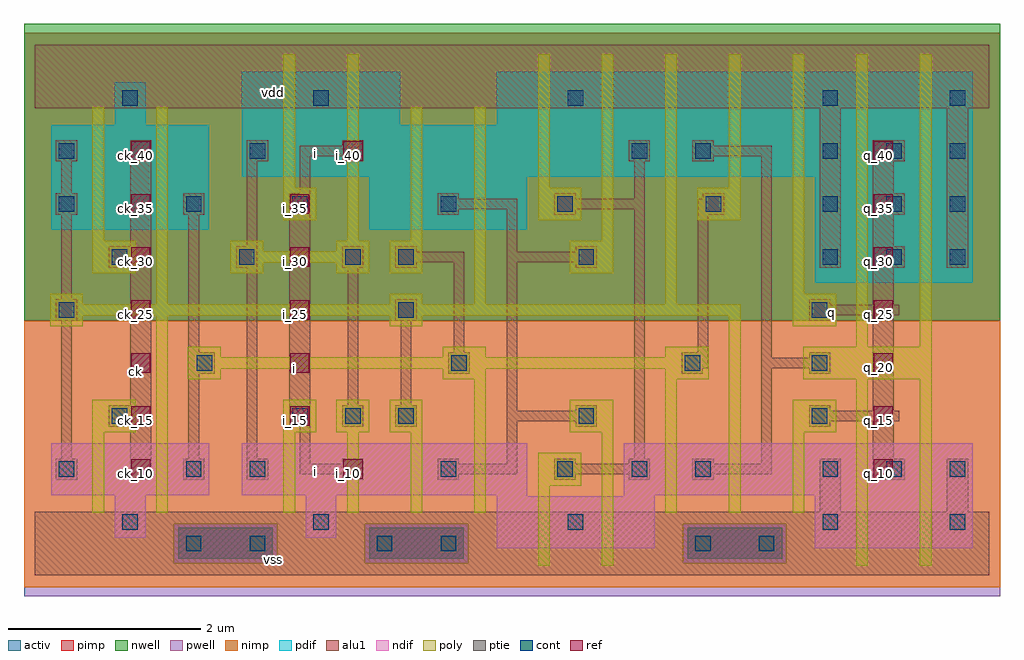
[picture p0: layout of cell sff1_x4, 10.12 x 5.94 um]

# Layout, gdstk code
import gdstk
lib = gdstk.Library(unit=1e-6, precision=2.5e-09)
def R(c, l, rs):  # rectangles x0, y0, x1, y1
    for r in rs: c.add(gdstk.rectangle(r[:2], r[2:], *l))
def A(c, l, x, y, w, h, nx, ny, dx, dy):  # array of equal rectangles
    R(c, l, [(x+i*dx, y+j*dy, x+i*dx+w, y+j*dy+h) for i in range(nx) for j in range(ny)])
ndif = (3, 0)
pdif = (4, 0)
ptie = (6, 0)
ref = (24, 0)
cont = (25, 0)
pwell = (41, 0)
nwell = (42, 0)
activ = (43, 0)
pimp = (44, 0)
nimp = (45, 0)
poly = (46, 0)
alu1 = (49, 0)

sff1_x4 = lib.new_cell('sff1_x4')
R(sff1_x4, ndif, [(4.79,0.28,6.43,0.82), (4.79,0.28,6.43,0.82), (8.09,0.28,9.73,0.83), (8.09,0.28,9.73,0.83), (0.83,0.39,1.15,0.83), (0.83,0.39,1.15,0.83), (2.81,0.39,3.13,0.83), (2.81,0.39,3.13,0.83), (4.79,0.82,5.11,0.83), (4.79,0.82,5.11,0.83), (6.11,0.82,6.43,0.83), (6.11,0.82,6.43,0.83), (0.17,0.83,1.81,1.37), (0.17,0.83,1.81,1.37), (2.15,0.83,5.11,1.37), (2.15,0.83,5.11,1.37), (6.11,0.83,9.73,1.37), (6.11,0.83,9.73,1.37)])
R(sff1_x4, pdif, [(8.09,3.03,9.73,4.13), (8.09,3.03,9.73,4.13), (0.17,3.58,1.81,4.67), (0.17,3.58,1.81,4.67), (3.47,3.58,5.11,4.13), (3.47,3.58,5.11,4.13), (2.15,4.13,9.73,4.67), (2.15,4.13,9.73,4.67), (0.83,4.67,1.15,5.11), (0.83,4.67,1.15,5.11), (2.15,4.67,3.79,5.22), (2.15,4.67,3.79,5.22), (4.79,4.67,9.73,5.22), (4.79,4.67,9.73,5.22)])
R(sff1_x4, ptie, [(1.49,0.17,2.47,0.49), (1.49,0.17,2.47,0.49), (3.47,0.17,4.45,0.49), (3.47,0.17,4.45,0.49), (6.77,0.17,7.75,0.49), (6.77,0.17,7.75,0.49)])
A(sff1_x4, ref, 1, 1, 0.2, 0.2, 1, 7, 0, 0.55)
A(sff1_x4, ref, 8.7, 1, 0.2, 0.2, 1, 7, 0, 0.55)
A(sff1_x4, ref, 2.65, 1.55, 0.2, 0.2, 1, 5, 0, 0.55)
R(sff1_x4, ref, [(3.2,1,3.4,1.2), (3.2,4.3,3.4,4.5)])
A(sff1_x4, cont, 2.89, 0.47, 0.16, 0.16, 3, 2, 2.64, 4.4)
A(sff1_x4, cont, 8.17, 1.02, 0.16, 0.16, 3, 2, 0.66, 2.2)
A(sff1_x4, cont, 2.67, 1.57, 0.16, 0.16, 3, 1, 0.55, 0)
A(sff1_x4, cont, 8.06, 1.57, 0.16, 0.16, 1, 3, 0, 0.55)
A(sff1_x4, cont, 8.17, 3.77, 0.16, 0.16, 3, 2, 0.66, 0.55)
R(sff1_x4, cont, [(1.57,0.25,1.73,0.41), (2.23,0.25,2.39,0.41), (3.55,0.25,3.71,0.41), (4.21,0.25,4.37,0.41), (6.85,0.25,7.01,0.41), (7.51,0.25,7.67,0.41), (0.91,0.47,1.07,0.63), (9.49,0.47,9.65,0.63), (0.25,1.02,0.41,1.18), (1.57,1.02,1.73,1.18), (2.23,1.02,2.39,1.18), (4.21,1.02,4.37,1.18), (5.42,1.02,5.58,1.18), (6.19,1.02,6.35,1.18), (6.85,1.02,7.01,1.18), (0.8,1.57,0.96,1.73), (5.64,1.57,5.8,1.73), (1.68,2.12,1.84,2.28), (4.32,2.12,4.48,2.28), (6.74,2.12,6.9,2.28), (0.25,2.67,0.41,2.83), (3.77,2.67,3.93,2.83), (0.8,3.22,0.96,3.38), (2.12,3.22,2.28,3.38), (3.22,3.22,3.38,3.38), (3.77,3.22,3.93,3.38), (5.64,3.22,5.8,3.38), (0.25,3.77,0.41,3.93), (1.57,3.77,1.73,3.93), (2.67,3.77,2.83,3.93), (4.21,3.77,4.37,3.93), (5.42,3.77,5.58,3.93), (6.96,3.77,7.12,3.93), (0.25,4.32,0.41,4.48), (2.23,4.32,2.39,4.48), (6.19,4.32,6.35,4.48), (6.85,4.32,7.01,4.48), (0.91,4.87,1.07,5.03), (9.49,4.87,9.65,5.03)])
R(sff1_x4, pwell, [(-0.11,-0.22,10.01,2.64)])
R(sff1_x4, nwell, [(-0.11,2.64,10.01,5.72)])
R(sff1_x4, activ, [(1.49,0.17,2.47,0.49), (1.49,0.17,2.47,0.49), (3.47,0.17,4.45,0.49), (3.47,0.17,4.45,0.49), (6.77,0.17,7.75,0.49), (6.77,0.17,7.75,0.49), (4.79,0.28,6.43,0.82), (4.79,0.28,6.43,0.82), (8.09,0.28,9.73,0.83), (8.09,0.28,9.73,0.83), (0.83,0.39,1.15,0.83), (0.83,0.39,1.15,0.83), (2.81,0.39,3.13,0.83), (2.81,0.39,3.13,0.83), (4.79,0.82,5.11,0.83), (4.79,0.82,5.11,0.83), (6.11,0.82,6.43,0.83), (6.11,0.82,6.43,0.83), (0.17,0.83,1.81,1.37), (0.17,0.83,1.81,1.37), (2.15,0.83,5.11,1.37), (2.15,0.83,5.11,1.37), (6.11,0.83,9.73,1.37), (6.11,0.83,9.73,1.37), (8.09,3.03,9.73,4.13), (8.09,3.03,9.73,4.13), (0.17,3.58,1.81,4.67), (0.17,3.58,1.81,4.67), (3.47,3.58,5.11,4.13), (3.47,3.58,5.11,4.13), (2.15,4.13,9.73,4.67), (2.15,4.13,9.73,4.67), (0.83,4.67,1.15,5.11), (0.83,4.67,1.15,5.11), (2.15,4.67,3.79,5.22), (2.15,4.67,3.79,5.22), (4.79,4.67,9.73,5.22), (4.79,4.67,9.73,5.22)])
R(sff1_x4, pimp, [(1.445,0.125,2.515,0.535), (3.425,0.125,4.495,0.535), (6.725,0.125,7.795,0.535), (-0.11,2.64,10.01,5.625)])
R(sff1_x4, nimp, [(-0.11,-0.125,10.01,0.125), (-0.11,0.125,1.445,0.535), (2.515,0.125,3.425,0.535), (4.495,0.125,6.725,0.535), (7.795,0.125,10.01,0.535), (-0.11,0.535,10.01,2.64)])
A(sff1_x4, poly, 2.58, 0.65, 0.12, 0.83, 3, 1, 0.66, 0)
A(sff1_x4, poly, 2.58, 1.48, 0.34, 0.34, 3, 1, 0.55, 0)
R(sff1_x4, poly, [(5.22,0.1,5.34,0.93), (5.88,0.1,6,1.48), (8.52,0.1,8.64,2.03), (9.18,0.1,9.3,2.03), (0.6,0.65,0.72,1.48), (1.26,0.65,1.38,2.69), (4.56,0.65,4.68,2.03), (6.54,0.65,6.66,2.03), (7.2,0.65,7.32,2.69), (7.86,0.65,7.98,1.48), (5.22,0.93,5.67,1.27), (0.6,1.48,1.05,1.82), (5.55,1.48,6,1.82), (7.86,1.48,8.31,1.82), (1.59,2.03,1.93,2.14), (4.23,2.03,4.68,2.14), (6.54,2.03,6.99,2.14), (7.97,2.03,9.3,2.37), (1.59,2.14,6.99,2.26), (1.59,2.26,1.93,2.37), (4.23,2.26,4.68,2.37), (6.54,2.26,6.99,2.37), (8.52,2.37,8.64,5.4), (9.18,2.37,9.3,5.4), (0.16,2.58,0.5,2.69), (3.68,2.58,4.02,2.69), (7.86,2.58,8.31,2.92), (0.16,2.69,7.32,2.81), (0.16,2.81,0.5,2.92), (1.26,2.81,1.38,4.85), (3.68,2.81,4.02,2.92), (4.56,2.81,4.68,4.85), (6.54,2.81,6.66,5.4), (7.86,2.92,7.98,5.4), (0.6,3.13,1.05,3.47), (2.03,3.13,2.37,3.24), (3.13,3.13,3.47,3.24), (3.68,3.13,4.02,3.47), (5.55,3.13,6,3.47), (2.03,3.24,3.47,3.36), (2.03,3.36,2.37,3.47), (3.13,3.36,3.47,3.47), (0.6,3.47,0.72,4.85), (3.24,3.47,3.36,5.4), (3.9,3.47,4.02,4.85), (5.88,3.47,6,5.4), (2.58,3.68,2.92,4.02), (5.22,3.68,5.67,4.02), (6.87,3.68,7.32,4.02), (2.58,4.02,2.7,5.4), (5.22,4.02,5.34,5.4), (7.2,4.02,7.32,5.4)])
A(sff1_x4, alu1, 8.69, 3.19, 0.33, 0.22, 1, 3, 0, 0.55)
R(sff1_x4, alu1, [(0,0,9.9,0.66), (8.14,0.66,8.36,1.21), (9.46,0.66,9.68,1.21), (0.22,0.99,0.44,1.21), (0.99,0.99,1.21,1.54), (1.54,0.99,1.76,1.21), (2.2,0.99,2.42,1.21), (3.19,0.99,3.41,1.045), (4.18,0.99,4.4,1.045), (5.39,0.99,5.61,1.045), (6.16,0.99,6.38,1.045), (6.82,0.99,7.04,1.045), (8.69,0.99,9.02,1.21), (2.75,1.045,3.41,1.155), (4.18,1.045,5.005,1.155), (5.39,1.045,6.38,1.155), (6.82,1.045,7.645,1.155), (2.75,1.155,2.86,1.54), (3.19,1.155,3.41,1.21), (4.18,1.155,4.4,1.21), (4.895,1.155,5.005,1.595), (5.39,1.155,5.61,1.21), (6.16,1.155,6.38,1.21), (6.82,1.155,7.04,1.21), (7.535,1.155,7.645,2.145), (0.275,1.21,0.385,2.64), (1.595,1.21,1.705,2.09), (2.2,1.21,2.31,3.19), (6.215,1.21,6.325,3.795), (8.69,1.21,8.91,1.595), (0.77,1.54,1.21,1.76), (2.64,1.54,2.86,3.96), (3.19,1.54,3.41,1.76), (3.74,1.54,3.96,1.76), (5.61,1.54,5.83,1.595), (8.03,1.54,8.25,1.595), (4.895,1.595,5.83,1.705), (8.03,1.595,8.965,1.705), (4.895,1.705,5.005,3.245), (5.61,1.705,5.83,1.76), (8.03,1.705,8.25,1.76), (8.69,1.705,8.91,2.695), (0.99,1.76,1.21,3.19), (3.245,1.76,3.355,3.19), (3.795,1.76,3.905,2.64), (1.595,2.09,1.87,2.31), (4.29,2.09,4.51,2.31), (6.71,2.09,6.93,2.145), (8.03,2.09,8.25,2.145), (6.71,2.145,6.985,2.31), (7.535,2.145,8.25,2.255), (7.535,2.255,7.645,4.345), (8.03,2.255,8.25,2.31), (1.595,2.31,1.705,3.74), (4.345,2.31,4.455,3.245), (6.875,2.31,6.985,3.74), (0.22,2.64,0.44,2.86), (3.74,2.64,3.96,2.86), (8.03,2.64,8.25,2.695), (8.03,2.695,8.965,2.805), (8.03,2.805,8.25,2.86), (8.69,2.805,8.91,3.19), (0.275,2.86,0.385,3.74), (0.77,3.19,1.21,3.41), (2.09,3.19,2.31,3.41), (3.19,3.19,3.41,3.41), (3.74,3.19,3.96,3.245), (5.61,3.19,5.83,3.245), (8.14,3.19,8.36,4.84), (9.46,3.19,9.68,4.84), (3.74,3.245,4.455,3.355), (4.895,3.245,5.83,3.355), (3.74,3.355,3.96,3.41), (4.895,3.355,5.005,3.795), (5.61,3.355,5.83,3.41), (0.99,3.41,1.21,4.51), (2.2,3.41,2.31,4.29), (8.69,3.41,8.91,3.74), (0.22,3.74,0.44,3.96), (1.54,3.74,1.76,3.96), (4.18,3.74,4.4,3.795), (5.39,3.74,5.61,3.795), (6.875,3.74,7.15,3.905), (4.18,3.795,5.005,3.905), (5.39,3.795,6.325,3.905), (4.18,3.905,4.4,3.96), (5.39,3.905,5.61,3.96), (6.215,3.905,6.325,4.29), (6.93,3.905,7.15,3.96), (0.275,3.96,0.385,4.29), (2.75,3.96,2.86,4.345), (8.69,3.96,8.91,4.29), (0.22,4.29,0.44,4.51), (2.2,4.29,2.42,4.51), (3.19,4.29,3.41,4.345), (6.16,4.29,6.38,4.51), (6.82,4.29,7.04,4.345), (2.75,4.345,3.41,4.455), (6.82,4.345,7.645,4.455), (3.19,4.455,3.41,4.51), (6.82,4.455,7.04,4.51), (0,4.84,9.9,5.5)])
sff1_x4.add(gdstk.Label('vss', (2.475,0.165), layer=49, texttype=0))
sff1_x4.add(gdstk.Label('q', (8.2625,2.7225), layer=49, texttype=0))
sff1_x4.add(gdstk.Label('i', (2.915,1.0725), layer=49, texttype=0))
sff1_x4.add(gdstk.Label('i', (2.695,2.145), layer=49, texttype=0))
sff1_x4.add(gdstk.Label('ck', (1.045,2.1175), layer=49, texttype=0))
sff1_x4.add(gdstk.Label('i', (2.915,4.3725), layer=49, texttype=0))
sff1_x4.add(gdstk.Label('vdd', (2.475,5.005), layer=49, texttype=0))
sff1_x4.add(gdstk.Label('i_40', (3.25,4.35), layer=24, texttype=0))
sff1_x4.add(gdstk.Label('q_10', (8.75,1.05), layer=24, texttype=0))
sff1_x4.add(gdstk.Label('q_15', (8.75,1.6), layer=24, texttype=0))
sff1_x4.add(gdstk.Label('q_25', (8.75,2.7), layer=24, texttype=0))
sff1_x4.add(gdstk.Label('q_30', (8.75,3.25), layer=24, texttype=0))
sff1_x4.add(gdstk.Label('q_35', (8.75,3.8), layer=24, texttype=0))
sff1_x4.add(gdstk.Label('q_40', (8.75,4.35), layer=24, texttype=0))
sff1_x4.add(gdstk.Label('i_10', (3.25,1.05), layer=24, texttype=0))
sff1_x4.add(gdstk.Label('i_15', (2.7,1.6), layer=24, texttype=0))
sff1_x4.add(gdstk.Label('i_20', (2.7,2.15), layer=24, texttype=0))
sff1_x4.add(gdstk.Label('i_25', (2.7,2.7), layer=24, texttype=0))
sff1_x4.add(gdstk.Label('i_30', (2.7,3.25), layer=24, texttype=0))
sff1_x4.add(gdstk.Label('i_35', (2.7,3.8), layer=24, texttype=0))
sff1_x4.add(gdstk.Label('ck_10', (1.05,1.05), layer=24, texttype=0))
sff1_x4.add(gdstk.Label('ck_15', (1.05,1.6), layer=24, texttype=0))
sff1_x4.add(gdstk.Label('ck_20', (1.05,2.15), layer=24, texttype=0))
sff1_x4.add(gdstk.Label('ck_25', (1.05,2.7), layer=24, texttype=0))
sff1_x4.add(gdstk.Label('ck_30', (1.05,3.25), layer=24, texttype=0))
sff1_x4.add(gdstk.Label('ck_35', (1.05,3.8), layer=24, texttype=0))
sff1_x4.add(gdstk.Label('ck_40', (1.05,4.35), layer=24, texttype=0))
sff1_x4.add(gdstk.Label('q_20', (8.75,2.15), layer=24, texttype=0))

lib.write_gds('sff1_x4.gds')
